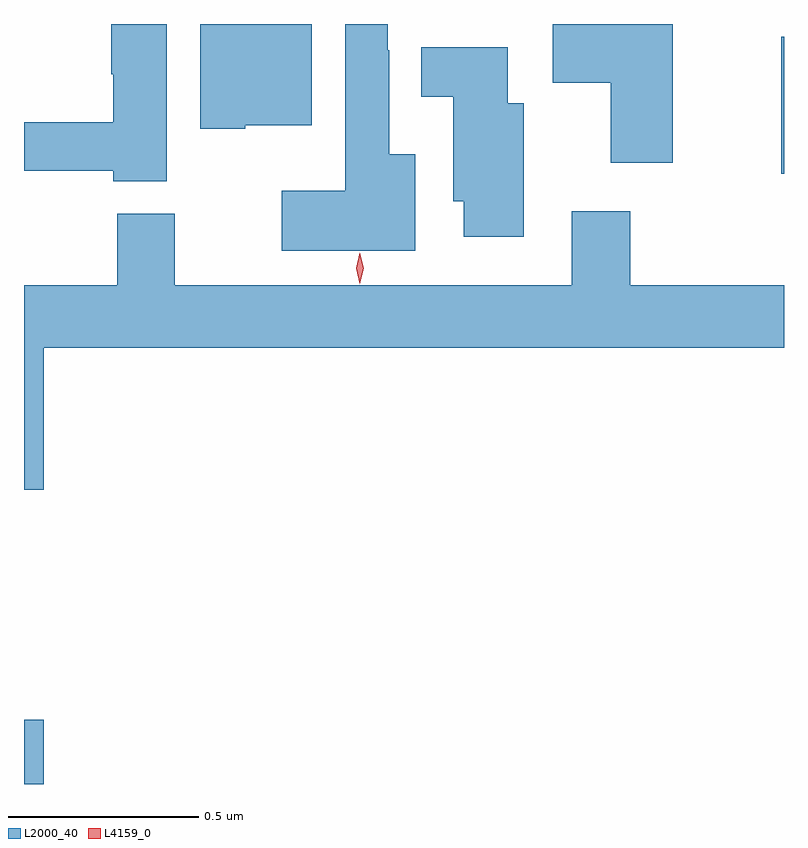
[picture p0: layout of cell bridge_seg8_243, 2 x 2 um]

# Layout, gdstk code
import gdstk
lib = gdstk.Library(unit=1e-6, precision=1e-09)
def R(c, l, rs):  # rectangles x0, y0, x1, y1
    for r in rs: c.add(gdstk.rectangle(r[:2], r[2:], *l))
def P(c, l, *ps):  # polygons
    for p in ps: c.add(gdstk.Polygon(p, *l))
L2000_40 = (2000, 40)
L4159_0 = (4159, 0)

bridge_seg8_243 = lib.new_cell('bridge_seg8_243')
R(bridge_seg8_243, L2000_40, [(273.012,1134,273.064,1134.169), (275.005,1135.606,275.012,1135.966)])
P(bridge_seg8_243, L2000_40, [(273.388,1136),(273.242,1136),(273.242,1135.868),(273.247,1135.868),(273.247,1135.742),(273.012,1135.742),(273.012,1135.614),(273.247,1135.614),(273.247,1135.586),(273.388,1135.586)],
  [(274.719,1136),(274.404,1136),(274.404,1135.846),(274.556,1135.846),(274.556,1135.635),(274.719,1135.635)],
  [(274.042,1135.657),(273.973,1135.657),(273.973,1135.931),(273.969,1135.931),(273.969,1136),(273.857,1136),(273.857,1135.561),(273.69,1135.561),(273.69,1135.403),(274.042,1135.403)],
  [(273.594,1135.733),(273.769,1135.733),(273.769,1136),(273.476,1136),(273.476,1135.724),(273.594,1135.724)],
  [(274.327,1135.792),(274.285,1135.792),(274.285,1135.939),(274.058,1135.939),(274.058,1135.808),(274.142,1135.808),(274.142,1135.533),(274.169,1135.533),(274.169,1135.44),(274.327,1135.44)],
  [(273.064,1135.148),(275.012,1135.148),(275.012,1135.312),(274.607,1135.312),(274.607,1135.507),(274.454,1135.507),(274.454,1135.312),(273.409,1135.312),(273.409,1135.501),(273.257,1135.501),(273.257,1135.312),(273.012,1135.312),(273.012,1134.774),(273.064,1134.774)])
P(bridge_seg8_243, L4159_0, [(273.896,1135.316),(273.895,1135.317),(273.886,1135.357),(273.896,1135.398),(273.896,1135.398),(273.896,1135.398),(273.906,1135.357),(273.896,1135.317)])

lib.write_gds('bridge_seg8_243.gds')
